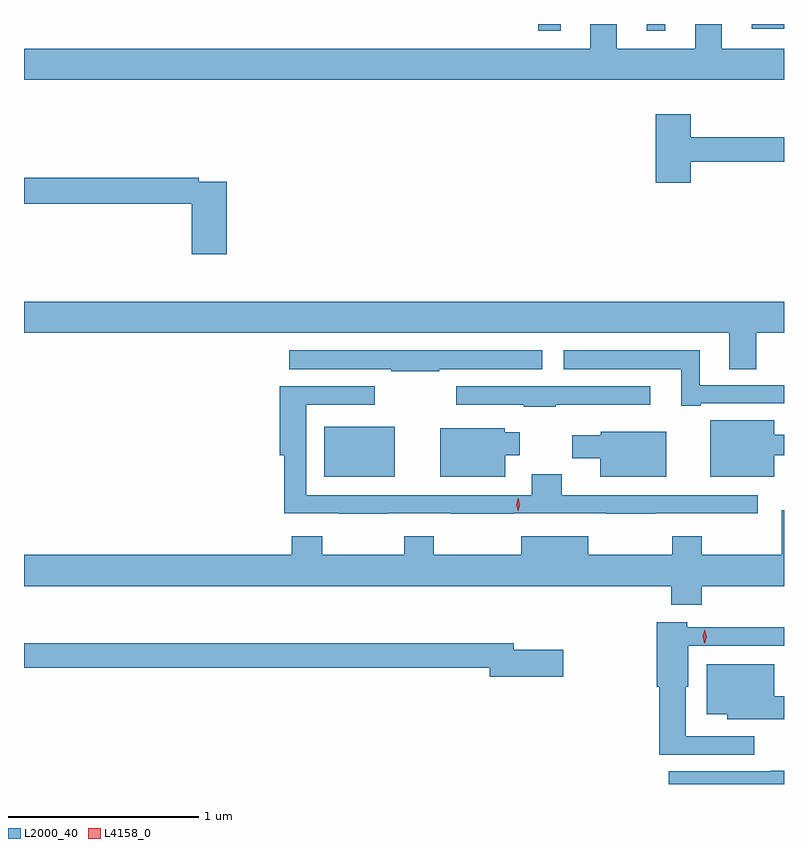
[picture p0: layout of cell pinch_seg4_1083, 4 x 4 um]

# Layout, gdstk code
import gdstk
lib = gdstk.Library(unit=1e-6, precision=1e-09)
def R(c, l, rs):  # rectangles x0, y0, x1, y1
    for r in rs: c.add(gdstk.rectangle(r[:2], r[2:], *l))
def P(c, l, *ps):  # polygons
    for p in ps: c.add(gdstk.Polygon(p, *l))
L2000_40 = (2000, 40)
L4158_0 = (4158, 0)

pinch_seg4_1083 = lib.new_cell('pinch_seg4_1083')
R(pinch_seg4_1083, L2000_40, [(528.11,829.364,528.481,829.627), (529.237,831.711,529.354,831.746), (529.808,831.711,529.906,831.746), (530.36,831.72,530.53,831.746)])
P(pinch_seg4_1083, L2000_40, [(530.53,831.616),(530.203,831.616),(530.203,831.746),(530.063,831.746),(530.063,831.616),(529.651,831.616),(529.651,831.746),(529.511,831.746),(529.511,831.616),(526.53,831.616),(526.53,831.452),(530.53,831.452)],
  [(530.039,831.022),(530.53,831.022),(530.53,831.151),(530.039,831.151),(530.039,831.271),(529.856,831.271),(529.856,830.91),(530.039,830.91)],
  [(527.597,830.916),(527.45,830.916),(527.45,830.936),(526.53,830.936),(526.53,830.8),(527.414,830.8),(527.414,830.535),(527.597,830.535)],
  [(530.383,830.12),(530.53,830.12),(530.53,830.284),(526.53,830.284),(526.53,830.12),(530.243,830.12),(530.243,829.93),(530.383,829.93)],
  [(530.092,829.749),(530.53,829.749),(530.53,829.845),(530.086,829.845),(530.086,830.029),(529.371,830.029),(529.371,829.928),(529.988,829.928),(529.988,829.737),(530.092,829.737)],
  [(528.716,829.928),(529.258,829.928),(529.258,830.029),(527.925,830.029),(527.925,829.928),(528.463,829.928),(528.463,829.918),(528.716,829.918)],
  [(529.328,829.742),(529.825,829.742),(529.825,829.839),(528.804,829.839),(528.804,829.743),(529.159,829.743),(529.159,829.731),(529.328,829.731)],
  [(528.443,829.17),(528.775,829.17),(528.775,829.169),(529.106,829.169),(529.106,829.17),(529.597,829.17),(529.597,829.169),(529.853,829.169),(529.853,829.17),(530.392,829.17),(530.392,829.266),(529.36,829.266),(529.36,829.375),(529.202,829.375),(529.202,829.266),(528.015,829.266),(528.015,829.743),(528.376,829.743),(528.376,829.839),(527.876,829.839),(527.876,829.475),(527.899,829.475),(527.899,829.17),(528.187,829.17),(528.187,829.169),(528.443,829.169)],
  [(530.479,829.476),(530.53,829.476),(530.53,829.585),(530.479,829.585),(530.479,829.66),(530.141,829.66),(530.141,829.364),(530.479,829.364)],
  [(529.063,829.475),(529.138,829.475),(529.138,829.597),(529.059,829.597),(529.059,829.618),(528.722,829.618),(528.722,829.364),(529.063,829.364)],
  [(529.909,829.6),(529.566,829.6),(529.566,829.582),(529.416,829.582),(529.416,829.46),(529.562,829.46),(529.562,829.364),(529.909,829.364)],
  [(530.097,828.788),(530.53,828.788),(530.53,829.186),(530.519,829.186),(530.519,828.952),(530.097,828.952),(530.097,829.051),(529.942,829.051),(529.942,828.952),(529.501,828.952),(529.501,829.051),(529.148,829.051),(529.148,828.952),(528.687,828.952),(528.687,829.051),(528.532,829.051),(528.532,828.952),(528.099,828.952),(528.099,829.051),(527.939,829.051),(527.939,828.952),(526.53,828.952),(526.53,828.788),(529.937,828.788),(529.937,828.689),(530.097,828.689)],
  [(530.374,827.997),(530.014,827.997),(530.014,828.258),(530.026,828.258),(530.026,828.474),(530.53,828.474),(530.53,828.57),(530.441,828.57),(530.441,828.572),(530.022,828.572),(530.022,828.598),(529.861,828.598),(529.861,828.258),(529.874,828.258),(529.874,827.901),(530.374,827.901)],
  [(529.369,828.453),(529.108,828.453),(529.108,828.487),(526.53,828.487),(526.53,828.358),(528.98,828.358),(528.98,828.311),(529.369,828.311)],
  [(530.53,828.208),(530.479,828.208),(530.479,828.376),(530.123,828.376),(530.123,828.113),(530.232,828.113),(530.232,828.086),(530.53,828.086)],
  [(530.53,827.815),(530.461,827.815),(530.461,827.812),(529.923,827.812),(529.923,827.746),(530.53,827.746)])
P(pinch_seg4_1083, L4158_0, [(530.111,828.487),(530.111,828.487),(530.103,828.523),(530.114,828.558),(530.114,828.558),(530.114,828.558),(530.123,828.522),(530.112,828.487)],
  [(529.13,829.181),(529.13,829.181),(529.12,829.217),(529.13,829.253),(529.13,829.253),(529.13,829.253),(529.14,829.217),(529.13,829.181)])

lib.write_gds('pinch_seg4_1083.gds')
